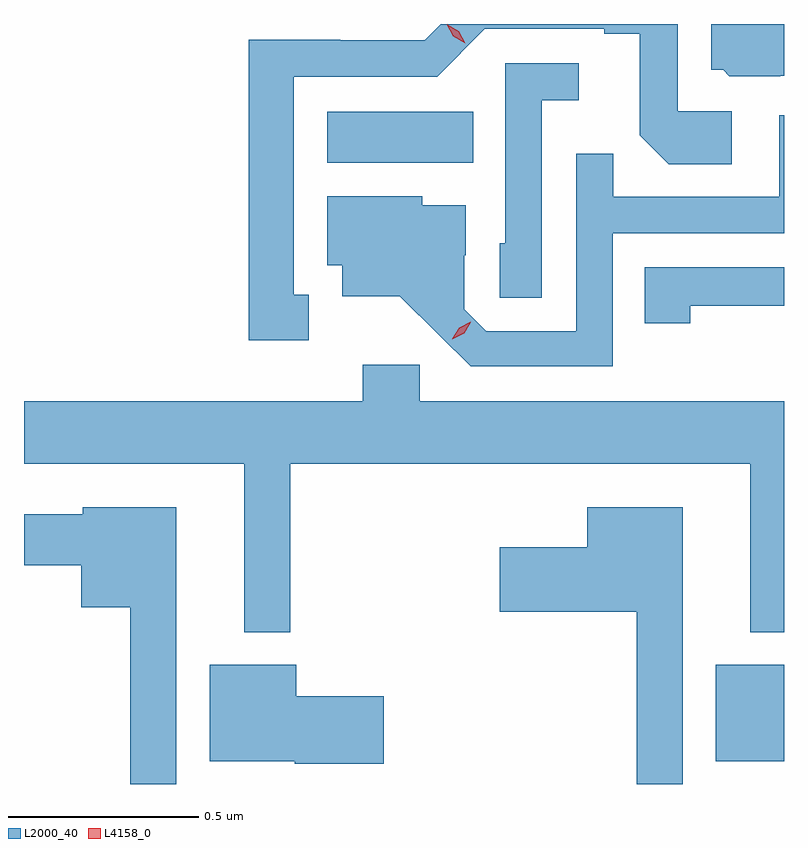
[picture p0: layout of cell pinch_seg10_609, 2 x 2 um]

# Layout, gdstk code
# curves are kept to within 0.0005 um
import gdstk
lib = gdstk.Library(unit=1e-6, precision=1e-09)
def R(c, l, rs):  # rectangles x0, y0, x1, y1
    for r in rs: c.add(gdstk.rectangle(r[:2], r[2:], *l))
def P(c, l, *ps):  # polygons
    for p in ps: c.add(gdstk.Polygon(p, *l))
L2000_40 = (2000, 40)
L4158_0 = (4158, 0)

pinch_seg10_609 = lib.new_cell('pinch_seg10_609')
R(pinch_seg10_609, L2000_40, [(371.717,1272.893,371.896,1273.147), (370.694,1274.468,371.078,1274.602)])
P(pinch_seg10_609, L2000_40, [(370.645,1274.121),(370.606,1274.121),(370.606,1274.694),(370.983,1274.694),(371.109,1274.82),(371.423,1274.82),(371.423,1274.808),(371.517,1274.808),(371.517,1274.54),(371.593,1274.464),(371.758,1274.464),(371.758,1274.604),(371.616,1274.604),(371.616,1274.833),(370.993,1274.833),(370.95,1274.79),(370.728,1274.79),(370.728,1274.792),(370.488,1274.792),(370.488,1274.001),(370.645,1274.001)],
  [(371.886,1274.697),(371.896,1274.697),(371.896,1274.833),(371.705,1274.833),(371.705,1274.712),(371.736,1274.712),(371.752,1274.696),(371.886,1274.696)],
  [(371.259,1274.633),(371.356,1274.633),(371.356,1274.73),(371.163,1274.73),(371.163,1274.256),(371.148,1274.256),(371.148,1274.113),(371.259,1274.113)],
  [(371.445,1274.283),(371.896,1274.283),(371.896,1274.593),(371.883,1274.593),(371.883,1274.379),(371.447,1274.379),(371.447,1274.492),(371.349,1274.492),(371.349,1274.025),(371.112,1274.025),(371.055,1274.082),(371.055,1274.224),(371.059,1274.224),(371.059,1274.356),(370.944,1274.356),(370.944,1274.38),(370.694,1274.38),(370.694,1274.198),(370.733,1274.198),(370.733,1274.117),(370.885,1274.117),(371.072,1273.932),(371.445,1273.932)],
  [(371.649,1274.092),(371.896,1274.092),(371.896,1274.193),(371.53,1274.193),(371.53,1274.046),(371.649,1274.046)],
  [(370.597,1273.676),(371.807,1273.676),(371.807,1273.232),(371.896,1273.232),(371.896,1273.84),(370.938,1273.84),(370.938,1273.936),(370.787,1273.936),(370.787,1273.84),(369.896,1273.84),(369.896,1273.676),(370.475,1273.676),(370.475,1273.232),(370.597,1273.232)],
  [(371.629,1273.561),(371.378,1273.561),(371.378,1273.456),(371.148,1273.456),(371.148,1273.286),(371.508,1273.286),(371.508,1272.833),(371.629,1272.833)],
  [(370.297,1273.561),(370.05,1273.561),(370.05,1273.543),(369.896,1273.543),(369.896,1273.409),(370.046,1273.409),(370.046,1273.298),(370.176,1273.298),(370.176,1272.833),(370.297,1272.833)],
  [(370.843,1273.064),(370.612,1273.064),(370.612,1273.147),(370.385,1273.147),(370.385,1272.893),(370.608,1272.893),(370.608,1272.886),(370.843,1272.886)])
P(pinch_seg10_609, L4158_0, [(371.023,1274.004),(371.023,1274.005),(371.041,1274.034),(371.072,1274.049),(371.072,1274.049),(371.072,1274.048),(371.054,1274.019),(371.023,1274.004)],
  [(371.057,1274.782),(371.026,1274.801),(371.008,1274.833),(371.008,1274.833),(371.008,1274.833),(371.04,1274.814),(371.057,1274.782),(371.057,1274.782)])

lib.write_gds('pinch_seg10_609.gds')
